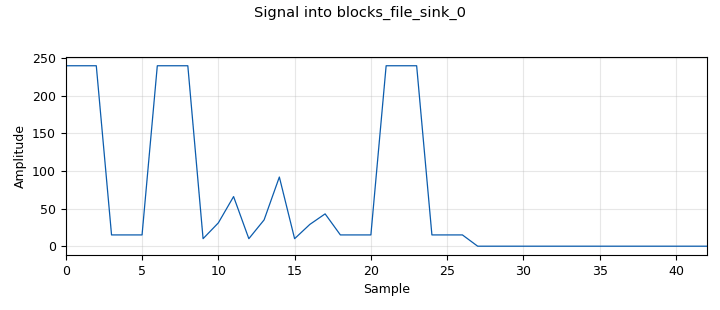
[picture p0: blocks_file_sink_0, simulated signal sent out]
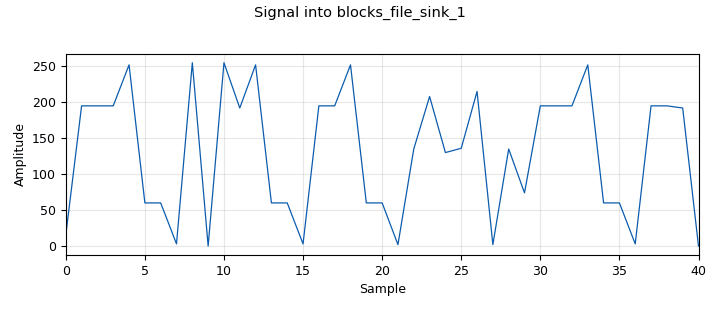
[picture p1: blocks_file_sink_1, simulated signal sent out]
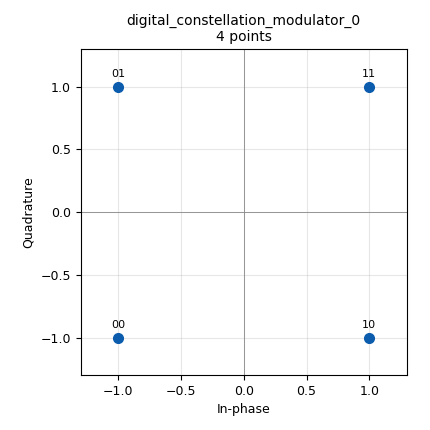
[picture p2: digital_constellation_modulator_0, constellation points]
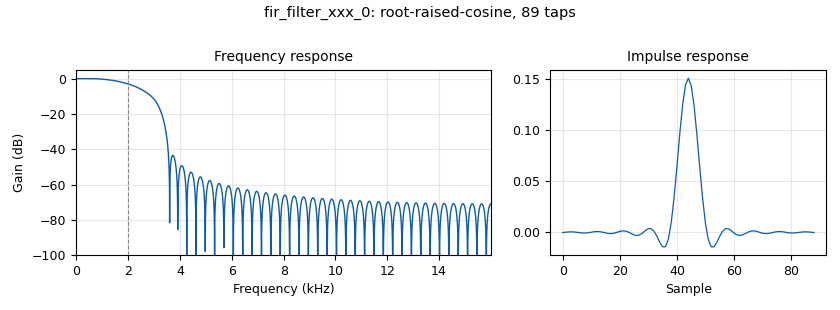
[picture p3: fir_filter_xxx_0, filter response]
options:
  parameters:
    generate_options: no_gui
    id: qpsk
    output_language: python
    run_options: run
    title: QPSK_mod
  states: {}

blocks:
- name: QPSK
  id: variable_constellation
  parameters:
    const_points: '[-1-1j, -1+1j, 1-1j, 1+1j]'
    dims: '1'
    normalization: digital.constellation.NO_NORMALIZATION
    precision: '8'
    rot_sym: '2'
    sym_map: '[0, 1, 2, 3]'
    type: calcdist
  states: {}
- name: loopB
  id: variable
  parameters:
    value: '0'
  states: {}
- name: noise
  id: variable
  parameters:
    value: '0'
  states: {}
- name: rolloff
  id: variable
  parameters:
    value: '0.75'
  states: {}
- name: rrc_taps
  id: variable
  parameters:
    value: firdes.root_raised_cosine(1.0,samp_rate,samp_rate/sps,rolloff,11*sps)
  states: {}
- name: samp_rate
  id: variable
  parameters:
    value: '32000'
  states: {}
- name: sps
  id: variable
  parameters:
    value: '8'
  states: {}
- name: blocks_complex_to_imag_0
  id: blocks_complex_to_imag
  parameters: {}
  states: {}
- name: blocks_complex_to_real_0
  id: blocks_complex_to_real
  parameters: {}
  states: {}
- name: blocks_file_sink_0
  id: blocks_file_sink
  parameters:
    file: qpsk_sent.dat
    type: byte
    unbuffered: 'True'
  states: {}
- name: blocks_file_sink_1
  id: blocks_file_sink
  parameters:
    file: qpsk_rec.dat
    type: byte
    unbuffered: 'True'
  states: {}
- name: blocks_interleave_0
  id: blocks_interleave
  parameters:
    type: byte
  states: {}
- name: blocks_pack_k_bits_bb_0
  id: blocks_pack_k_bits_bb
  parameters:
    k: '8'
  states: {}
- name: blocks_throttle_0
  id: blocks_throttle
  parameters:
    samples_per_second: samp_rate
    type: complex
  states: {}
- name: blocks_vector_source_x_0
  id: blocks_vector_source_x
  parameters:
    repeat: 'False'
    type: byte
    vector: '[240, 240, 240, 15, 15, 15, 240, 240, 240, ] + [10, 31, 66, 10, 35, 92, 10, 29, 43, ] + [15, 15, 15, 240, 240, 240, 15, 15, 15, 0, 0, 0, 0, 0, 0, 0, 0, 0, 0, 0, 0, 0, 0, 0, 0]'
  states: {}
- name: channels_channel_model_0
  id: channels_channel_model
  parameters:
    epsilon: '1.0'
    freq_offset: '0.0'
    noise_voltage: noise
    seed: '0'
    taps: '1'
  states: {}
- name: digital_binary_slicer_fb_0
  id: digital_binary_slicer_fb
  parameters: {}
  states: {}
- name: digital_binary_slicer_fb_0_0
  id: digital_binary_slicer_fb
  parameters: {}
  states: {}
- name: digital_constellation_modulator_0
  id: digital_constellation_modulator
  parameters:
    constellation: QPSK
    differential: 'False'
    excess_bw: rolloff
    samples_per_symbol: sps
  states: {}
- name: digital_symbol_sync_xx_0
  id: digital_symbol_sync_xx
  parameters:
    damping: '1.0'
    loop_bw: loopB
    max_dev: '1.5'
    osps: '1'
    resamp_type: digital.IR_MMSE_8TAP
    sps: sps
    ted_gain: '1.0'
    ted_type: digital.TED_SIGNAL_TIMES_SLOPE_ML
    type: cc
  states: {}
- name: fir_filter_xxx_0
  id: fir_filter_xxx
  parameters:
    decim: '1'
    taps: rrc_taps
    type: ccc
  states: {}
- name: qtgui_sink_x_0
  id: qtgui_sink_x
  parameters:
    bw: samp_rate
    fc: '0'
    fftsize: '1024'
    name: '"Espectro Transmitido"'
    type: complex
  states: {state: disabled}
- name: qtgui_time_sink_x_0
  id: qtgui_time_sink_x
  parameters:
    autoscale: 'True'
    name: '"Sinal Transmitido"'
    size: '1028'
    srate: samp_rate
    type: complex
  states: {state: disabled}
- name: virtual_sink_0
  id: virtual_sink
  parameters:
    stream_id: QPSK_mod
  states: {}
- name: virtual_source_0
  id: virtual_source
  parameters:
    stream_id: QPSK_mod
  states: {}

connections:
- [blocks_complex_to_imag_0, '0', digital_binary_slicer_fb_0_0, '0']
- [blocks_complex_to_real_0, '0', digital_binary_slicer_fb_0, '0']
- [blocks_interleave_0, '0', blocks_pack_k_bits_bb_0, '0']
- [blocks_pack_k_bits_bb_0, '0', blocks_file_sink_1, '0']
- [blocks_throttle_0, '0', qtgui_time_sink_x_0, '0']
- [blocks_throttle_0, '0', virtual_sink_0, '0']
- [blocks_vector_source_x_0, '0', blocks_file_sink_0, '0']
- [blocks_vector_source_x_0, '0', digital_constellation_modulator_0, '0']
- [channels_channel_model_0, '0', fir_filter_xxx_0, '0']
- [digital_binary_slicer_fb_0, '0', blocks_interleave_0, '0']
- [digital_binary_slicer_fb_0_0, '0', blocks_interleave_0, '1']
- [digital_constellation_modulator_0, '0', blocks_throttle_0, '0']
- [digital_constellation_modulator_0, '0', qtgui_sink_x_0, '0']
- [digital_symbol_sync_xx_0, '0', blocks_complex_to_imag_0, '0']
- [digital_symbol_sync_xx_0, '0', blocks_complex_to_real_0, '0']
- [fir_filter_xxx_0, '0', digital_symbol_sync_xx_0, '0']
- [virtual_source_0, '0', channels_channel_model_0, '0']

metadata:
  file_format: 1
